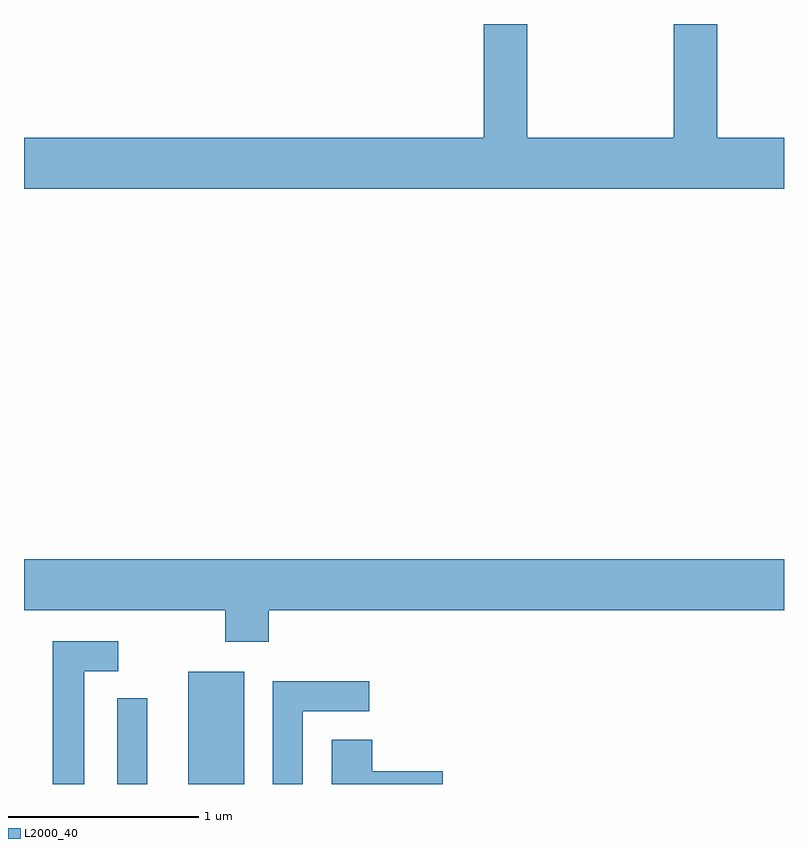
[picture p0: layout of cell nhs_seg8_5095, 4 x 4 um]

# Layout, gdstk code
import gdstk
lib = gdstk.Library(unit=1e-6, precision=1e-09)
def R(c, l, rs):  # rectangles x0, y0, x1, y1
    for r in rs: c.add(gdstk.rectangle(r[:2], r[2:], *l))
def P(c, l, *ps):  # polygons
    for p in ps: c.add(gdstk.Polygon(p, *l))
L2000_40 = (2000, 40)

nhs_seg8_5095 = lib.new_cell('nhs_seg8_5095')
R(nhs_seg8_5095, L2000_40, [(338.101,1884.342,338.259,1884.793), (338.476,1884.342,338.769,1884.934)])
P(nhs_seg8_5095, L2000_40, [(341.611,1887.744),(341.259,1887.744),(341.259,1888.342),(341.031,1888.342),(341.031,1887.744),(340.259,1887.744),(340.259,1888.342),(340.031,1888.342),(340.031,1887.744),(337.611,1887.744),(337.611,1887.476),(341.611,1887.476)],
  [(338.899,1885.256),(341.611,1885.256),(341.611,1885.524),(337.611,1885.524),(337.611,1885.256),(338.671,1885.256),(338.671,1885.091),(338.899,1885.091)],
  [(337.929,1884.936),(338.108,1884.936),(338.108,1885.094),(337.761,1885.094),(337.761,1884.342),(337.929,1884.342)],
  [(339.079,1884.726),(339.428,1884.726),(339.428,1884.884),(338.921,1884.884),(338.921,1884.342),(339.079,1884.342)],
  [(339.814,1884.409),(339.444,1884.409),(339.444,1884.574),(339.231,1884.574),(339.231,1884.342),(339.814,1884.342)])

lib.write_gds('nhs_seg8_5095.gds')
